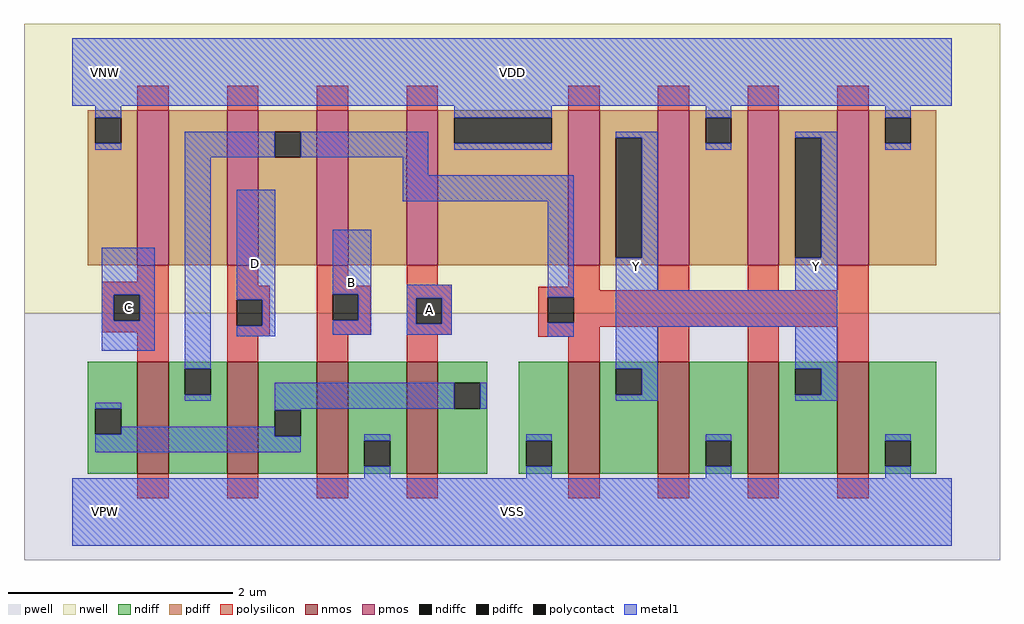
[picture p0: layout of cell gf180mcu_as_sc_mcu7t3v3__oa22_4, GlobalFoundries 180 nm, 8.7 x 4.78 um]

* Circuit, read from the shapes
.subckt gf180mcu_as_sc_mcu7t3v3__oa22_4 VDD VNW VPW VSS C D B A Y
XM1 n1 C n2 VPW nfet_03v3 w=1u l=0.28u
XM2 n2 D n1 VPW nfet_03v3 w=1u l=0.28u
XM3 VSS B n2 VPW nfet_03v3 w=1u l=0.28u
XM4 n2 A VSS VPW nfet_03v3 w=1u l=0.28u
XM5 Y n1 VSS VPW nfet_03v3 w=1u l=0.28u m=4
XM6 n3 C VDD VNW pfet_03v3 w=1.38u l=0.28u
XM7 n1 D n3 VNW pfet_03v3 w=1.38u l=0.28u
XM8 n4 B n1 VNW pfet_03v3 w=1.38u l=0.28u
XM9 VDD A n4 VNW pfet_03v3 w=1.38u l=0.28u
XM10 Y n1 VDD VNW pfet_03v3 w=1.38u l=0.28u m=4
.ends

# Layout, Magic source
magic
tech gf180mcuD
magscale 1 10
<< nwell >>
rect -86 354 1654 870
<< pwell >>
rect -86 -86 1654 354
<< nmos >>
rect 116 68 172 268
rect 276 68 332 268
rect 436 68 492 268
rect 596 68 652 268
rect 884 68 940 268
rect 1044 68 1100 268
rect 1204 68 1260 268
rect 1364 68 1420 268
<< pmos >>
rect 116 440 172 716
rect 276 440 332 716
rect 436 440 492 716
rect 596 440 652 716
rect 884 440 940 716
rect 1044 440 1100 716
rect 1204 440 1260 716
rect 1364 440 1420 716
<< ndiff >>
rect 28 184 116 268
rect 28 138 41 184
rect 87 138 116 184
rect 28 68 116 138
rect 172 255 276 268
rect 172 209 201 255
rect 247 209 276 255
rect 172 68 276 209
rect 332 181 436 268
rect 332 135 361 181
rect 407 135 436 181
rect 332 68 436 135
rect 492 127 596 268
rect 492 81 521 127
rect 567 81 596 127
rect 492 68 596 81
rect 652 230 740 268
rect 652 184 681 230
rect 727 184 740 230
rect 652 68 740 184
rect 796 127 884 268
rect 796 81 809 127
rect 855 81 884 127
rect 796 68 884 81
rect 940 255 1044 268
rect 940 209 969 255
rect 1015 209 1044 255
rect 940 68 1044 209
rect 1100 127 1204 268
rect 1100 81 1129 127
rect 1175 81 1204 127
rect 1100 68 1204 81
rect 1260 255 1364 268
rect 1260 209 1289 255
rect 1335 209 1364 255
rect 1260 68 1364 209
rect 1420 127 1540 268
rect 1420 81 1449 127
rect 1495 81 1540 127
rect 1420 68 1540 81
<< pdiff >>
rect 28 703 116 716
rect 28 657 41 703
rect 87 657 116 703
rect 28 440 116 657
rect 172 440 276 716
rect 332 678 436 716
rect 332 632 361 678
rect 407 632 436 678
rect 332 440 436 632
rect 492 440 596 716
rect 652 703 884 716
rect 652 657 681 703
rect 855 657 884 703
rect 652 440 884 657
rect 940 667 1044 716
rect 940 453 969 667
rect 1015 453 1044 667
rect 940 440 1044 453
rect 1100 703 1204 716
rect 1100 657 1129 703
rect 1175 657 1204 703
rect 1100 440 1204 657
rect 1260 667 1364 716
rect 1260 453 1289 667
rect 1335 453 1364 667
rect 1260 440 1364 453
rect 1420 703 1540 716
rect 1420 657 1449 703
rect 1495 657 1540 703
rect 1420 440 1540 657
<< ndiffc >>
rect 41 138 87 184
rect 201 209 247 255
rect 361 135 407 181
rect 521 81 567 127
rect 681 184 727 230
rect 809 81 855 127
rect 969 209 1015 255
rect 1129 81 1175 127
rect 1289 209 1335 255
rect 1449 81 1495 127
<< pdiffc >>
rect 41 657 87 703
rect 361 632 407 678
rect 681 657 855 703
rect 969 453 1015 667
rect 1129 657 1175 703
rect 1289 453 1335 667
rect 1449 657 1495 703
<< polysilicon >>
rect 116 716 172 760
rect 276 716 332 760
rect 436 716 492 760
rect 596 716 652 760
rect 884 716 940 760
rect 1044 716 1100 760
rect 1204 716 1260 760
rect 1364 716 1420 760
rect 116 410 172 440
rect 53 387 172 410
rect 53 341 74 387
rect 120 341 172 387
rect 53 320 172 341
rect 116 268 172 320
rect 276 403 332 440
rect 436 403 492 440
rect 596 405 652 440
rect 276 378 352 403
rect 276 332 293 378
rect 339 332 352 378
rect 276 313 352 332
rect 436 388 532 403
rect 436 342 464 388
rect 510 342 532 388
rect 436 316 532 342
rect 596 381 677 405
rect 884 401 940 440
rect 596 335 613 381
rect 659 335 677 381
rect 596 316 677 335
rect 831 395 940 401
rect 1044 395 1100 440
rect 1204 395 1260 440
rect 1364 395 1420 440
rect 831 383 1420 395
rect 831 337 848 383
rect 894 337 1420 383
rect 831 330 1420 337
rect 276 268 332 313
rect 436 268 492 316
rect 596 268 652 316
rect 831 312 940 330
rect 884 268 940 312
rect 1044 268 1100 330
rect 1204 268 1260 330
rect 1364 268 1420 330
rect 116 24 172 68
rect 276 24 332 68
rect 436 24 492 68
rect 596 24 652 68
rect 884 24 940 68
rect 1044 24 1100 68
rect 1204 24 1260 68
rect 1364 24 1420 68
<< polycontact >>
rect 74 341 120 387
rect 293 332 339 378
rect 464 342 510 388
rect 613 335 659 381
rect 848 337 894 383
<< metal1 >>
rect 0 724 1568 844
rect 41 703 87 724
rect 681 703 855 724
rect 41 646 87 657
rect 201 632 361 678
rect 407 632 635 678
rect 1129 703 1175 724
rect 681 646 855 657
rect 969 667 1044 678
rect 53 387 147 471
rect 53 341 74 387
rect 120 341 147 387
rect 53 287 147 341
rect 201 255 247 632
rect 589 600 635 632
rect 293 378 362 574
rect 589 554 894 600
rect 339 332 362 378
rect 293 313 362 332
rect 464 388 533 503
rect 510 342 533 388
rect 464 316 533 342
rect 596 381 677 405
rect 596 335 613 381
rect 659 335 677 381
rect 596 316 677 335
rect 848 383 894 554
rect 848 312 894 337
rect 1015 453 1044 667
rect 1449 703 1495 724
rect 1129 646 1175 657
rect 1289 667 1364 678
rect 969 395 1044 453
rect 1335 453 1364 667
rect 1449 646 1495 657
rect 1289 395 1364 453
rect 969 330 1364 395
rect 969 255 1044 330
rect 201 198 247 209
rect 41 184 87 195
rect 361 184 681 230
rect 727 184 739 230
rect 1015 209 1044 255
rect 969 198 1044 209
rect 1289 255 1364 330
rect 1335 209 1364 255
rect 1289 198 1364 209
rect 361 181 407 184
rect 87 138 361 152
rect 41 135 361 138
rect 41 106 407 135
rect 521 127 567 138
rect 521 60 567 81
rect 809 127 855 138
rect 809 60 855 81
rect 1129 127 1175 138
rect 1129 60 1175 81
rect 1449 127 1495 138
rect 1449 60 1495 81
rect 0 -60 1568 60
<< labels >>
flabel metal1 s 0 724 1568 844 0 FreeSans 400 0 0 0 VDD
port 1 nsew power bidirectional abutment
flabel metal1 s 0 -60 1568 60 0 FreeSans 400 0 0 0 VSS
port 4 nsew ground bidirectional abutment
flabel nwell s 10 734 110 834 0 FreeSans 400 0 0 0 VNW
port 2 nsew power bidirectional
flabel pwell s 10 -50 110 50 0 FreeSans 400 0 0 0 VPW
port 3 nsew ground bidirectional
flabel metal1 53 320 147 410 0 FreeSans 200 0 0 0 C
port 5 nsew signal input
flabel metal1 293 313 362 574 0 FreeSans 200 0 0 0 D
port 6 nsew signal input
flabel metal1 464 316 533 503 0 FreeSans 200 0 0 0 B
port 7 nsew signal input
flabel metal1 596 316 677 405 0 FreeSans 200 0 0 0 A
port 8 nsew signal input
flabel metal1 969 198 1044 678 0 FreeSans 200 0 0 0 Y
port 9 nsew signal output
flabel metal1 1289 198 1364 678 0 FreeSans 200 0 0 0 Y
port 9 nsew signal output
<< properties >>
string FIXED_BBOX 0 0 1568 784
string LEFclass CORE
string LEFsite unithd
string LEFsymmetry X Y
string MASKHINTS_NPLUS -16 -46 1584 354
string MASKHINTS_PPLUS -16 354 1584 830
<< end >>
